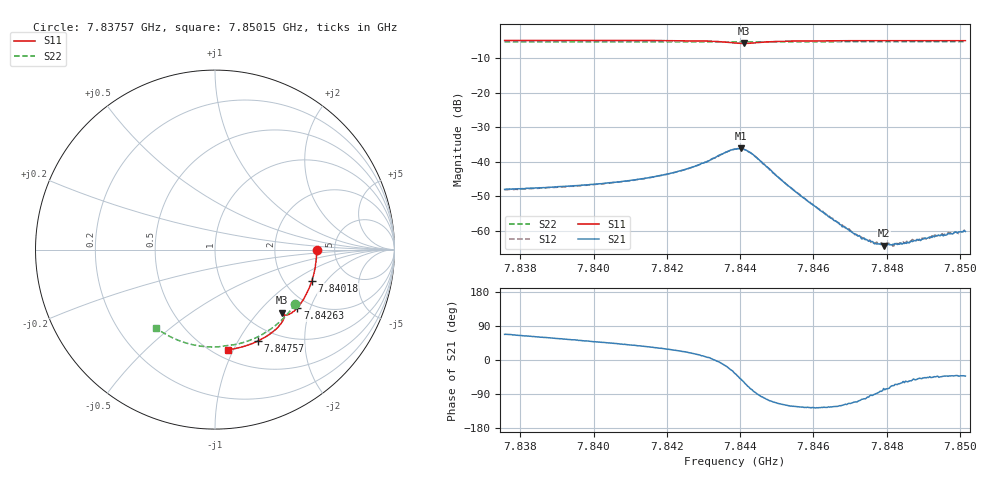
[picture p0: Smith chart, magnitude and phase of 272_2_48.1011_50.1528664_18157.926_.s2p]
#  HZ  S  RI  R  50.00
! Rohde & Schwarz Vector Network Analyzer
! Rohde-Schwarz,ZNB20-2Port,1311601062101988,3.16
! Created: UTC 12/23/2023, 4:01:51 AM
! freq[Hz]  re:S11  im:S11  re:S21  im:S21  re:S12  im:S12  re:S22  im:S22
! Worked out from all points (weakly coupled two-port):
!   401 points, 7.83757 GHz to 7.85015 GHz, reference 50 ohm
!   highest |S21| = -36.14 dB at 7.84402 GHz (marker M1); lowest = -64.2 dB at 7.84792 GHz (marker M2)
!   lowest |S11| = -5.8 dB at 7.84411 GHz (marker M3), VSWR 3.11, Z = 71.4 - j68.2 ohm
!   |S11| at or under -10 dB: nowhere
!   |S22| runs from -5.4 to -5.3 dB; largest |S21 - S12| = 0.00035
!   S11 on the Smith chart (normalised r, x): 7.83757 GHz: 3.61, -0.02; 7.84018 GHz: 2.80, -1.44; 7.84263 GHz: 1.72, -1.63; 7.84757 GHz: 0.81, -1.21; 7.85015 GHz: 0.58, -0.95
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7.837571e9  0.5664 -0.00203  0.00152 0.0037  0.00151 0.00364  0.4462 -0.3037
7.839678e9  0.5492 -0.1413  0.00288 0.00359  0.00286 0.00359  0.348 -0.4137
7.840181e9  0.5397 -0.1738  0.0033 0.00352  0.00325 0.0035  0.3206 -0.4355
7.841785e9  0.4946 -0.274  0.00536 0.0033  0.00533 0.00328  0.2238 -0.4929
7.842634e9  0.4585 -0.3245  0.00775 0.00266  0.00768 0.00266  0.1681 -0.5147
7.843106e9  0.4314 -0.35  0.0101 0.00123  0.0101 0.00133  0.1361 -0.5237
7.843389e9  0.4109 -0.3613  0.0121 -0.000783  0.0119 -0.000683  0.1166 -0.5278
7.843861e9  0.3763 -0.3604  0.0124 -0.00892  0.0125 -0.00877  0.0851 -0.5323
7.844018e9  0.3727 -0.3542  0.01 -0.0119  0.00994 -0.0118  0.0751 -0.5336
7.844112e9  0.3739 -0.3516  0.00764 -0.013  0.00775 -0.013  0.0692 -0.5344
7.844395e9  0.3831 -0.3567  0.00121 -0.0121  0.00112 -0.0122  0.051 -0.5378
7.845244e9  0.3669 -0.414  -0.00235 -0.00421  -0.00233 -0.00423  -0.00849 -0.5428
7.845968e9  0.3302 -0.4516  -0.00141 -0.00199  -0.00145 -0.00198  -0.0594 -0.5403
7.847068e9  0.2672 -0.4947  -0.000366 -0.000872  -0.00037 -0.000876  -0.1355 -0.5272
7.847572e9  0.2369 -0.5104  -2.91e-05 -0.000705  -5.3e-05 -0.000684  -0.1697 -0.5176
7.847917e9  0.2155 -0.52  0.000157 -0.000594  0.000146 -0.000625  -0.1927 -0.5097
7.848075e9  0.2057 -0.524  0.000175 -0.000609  0.000187 -0.00063  -0.203 -0.5059
7.848232e9  0.1958 -0.5277  0.000289 -0.000594  0.000258 -0.000635  -0.2132 -0.5016
7.848546e9  0.1759 -0.5347  0.000365 -0.000554  0.000353 -0.000616  -0.2333 -0.4927
7.849113e9  0.1396 -0.5453  0.000549 -0.000565  0.00053 -0.000577  -0.2689 -0.4748
7.849364e9  0.1232 -0.5491  0.000622 -0.000587  0.000612 -0.000588  -0.2841 -0.4658
7.85015e9  0.0717 -0.558  0.000728 -0.000665  0.000742 -0.000636  -0.3298 -0.4353
